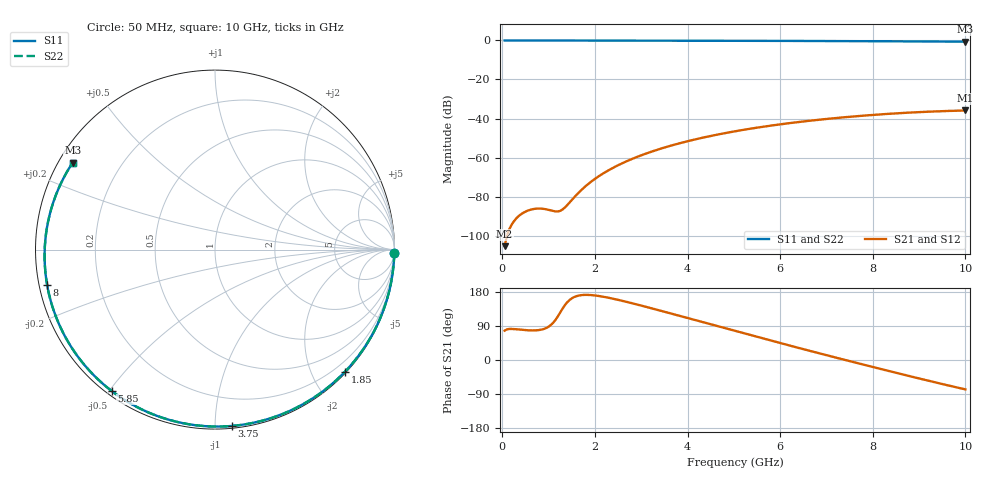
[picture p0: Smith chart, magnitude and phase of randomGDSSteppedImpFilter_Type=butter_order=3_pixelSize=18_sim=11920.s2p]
! freq	dB(S11)	phase(S11)	dB(S12)	phase(S12)
!  dB(S21)	phase(S21)	dB(S22)	phase(S22)
!S-par simulation data
#  GHz  S  DB  R 50
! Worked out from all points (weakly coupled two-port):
!   200 points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, 50 MHz to 10 GHz, reference 50 ohm
!   highest |S21| = -35.88 dB at 10 GHz (marker M1); lowest = -105.4 dB at 50 MHz (marker M2)
!   lowest |S11| = -0.6 dB at 10 GHz (marker M3), VSWR 27.31, Z = 1.98 + j14 ohm
!   |S11| at or under -10 dB: nowhere
!   |S22| runs from -0.6 to 0.0 dB; largest |S21 - S12| = 0
!   S11 on the Smith chart (normalised r, x): 50 MHz: open; 1.85 GHz: 0.02, -2.52; 3.75 GHz: 0.01, -1.10; 5.85 GHz: 0.02, -0.51; 8 GHz: 0.02, -0.11; 10 GHz: 0.04, +0.28
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0.05  -0.00 -1.2  -105.36 77.5  -105.36 77.5  -0.00 -1.2
0.45  -0.02 -10.7  -88.31 79.4  -88.31 79.4  -0.02 -10.7
0.8  -0.02 -19.0  -86.09 79.2  -86.09 79.2  -0.02 -18.9
1.55  -0.05 -36.4  -80.41 166.0  -80.41 166.0  -0.05 -36.4
1.75  -0.05 -41.0  -75.66 171.7  -75.66 171.7  -0.05 -41.0
1.85  -0.06 -43.2  -73.62 171.8  -73.62 171.8  -0.05 -43.2
2.15  -0.06 -50.0  -68.53 167.6  -68.53 167.6  -0.06 -50.0
2.5  -0.07 -57.8  -63.92 158.8  -63.92 158.8  -0.07 -57.7
2.9  -0.09 -66.5  -59.74 146.8  -59.74 146.8  -0.09 -66.5
3.4  -0.10 -77.2  -55.58 130.7  -55.58 130.7  -0.10 -77.1
3.75  -0.11 -84.5  -53.16 119.1  -53.16 119.1  -0.11 -84.4
4.4  -0.14 -97.7  -49.42 97.4  -49.42 97.4  -0.14 -97.7
5.05  -0.17 -110.6  -46.42 75.8  -46.42 75.8  -0.17 -110.6
5.85  -0.21 -126.2  -43.45 49.6  -43.45 49.6  -0.21 -126.1
6.7  -0.27 -142.5  -40.96 22.2  -40.96 22.2  -0.27 -142.5
7.35  -0.33 -155.1  -39.42 1.7  -39.42 1.7  -0.33 -155.1
8  -0.39 -168.0  -38.15 -18.4  -38.15 -18.4  -0.39 -167.9
8.35  -0.43 -175.1  -37.57 -29.1  -37.57 -29.1  -0.43 -175.0
8.8  -0.48 175.6  -36.94 -42.7  -36.94 -42.7  -0.48 175.6
9.2  -0.53 166.9  -36.49 -54.6  -36.49 -54.6  -0.53 166.9
9.6  -0.58 158.0  -36.13 -66.3  -36.13 -66.3  -0.58 158.0
10  -0.64 148.6  -35.88 -77.6  -35.88 -77.6  -0.64 148.6
